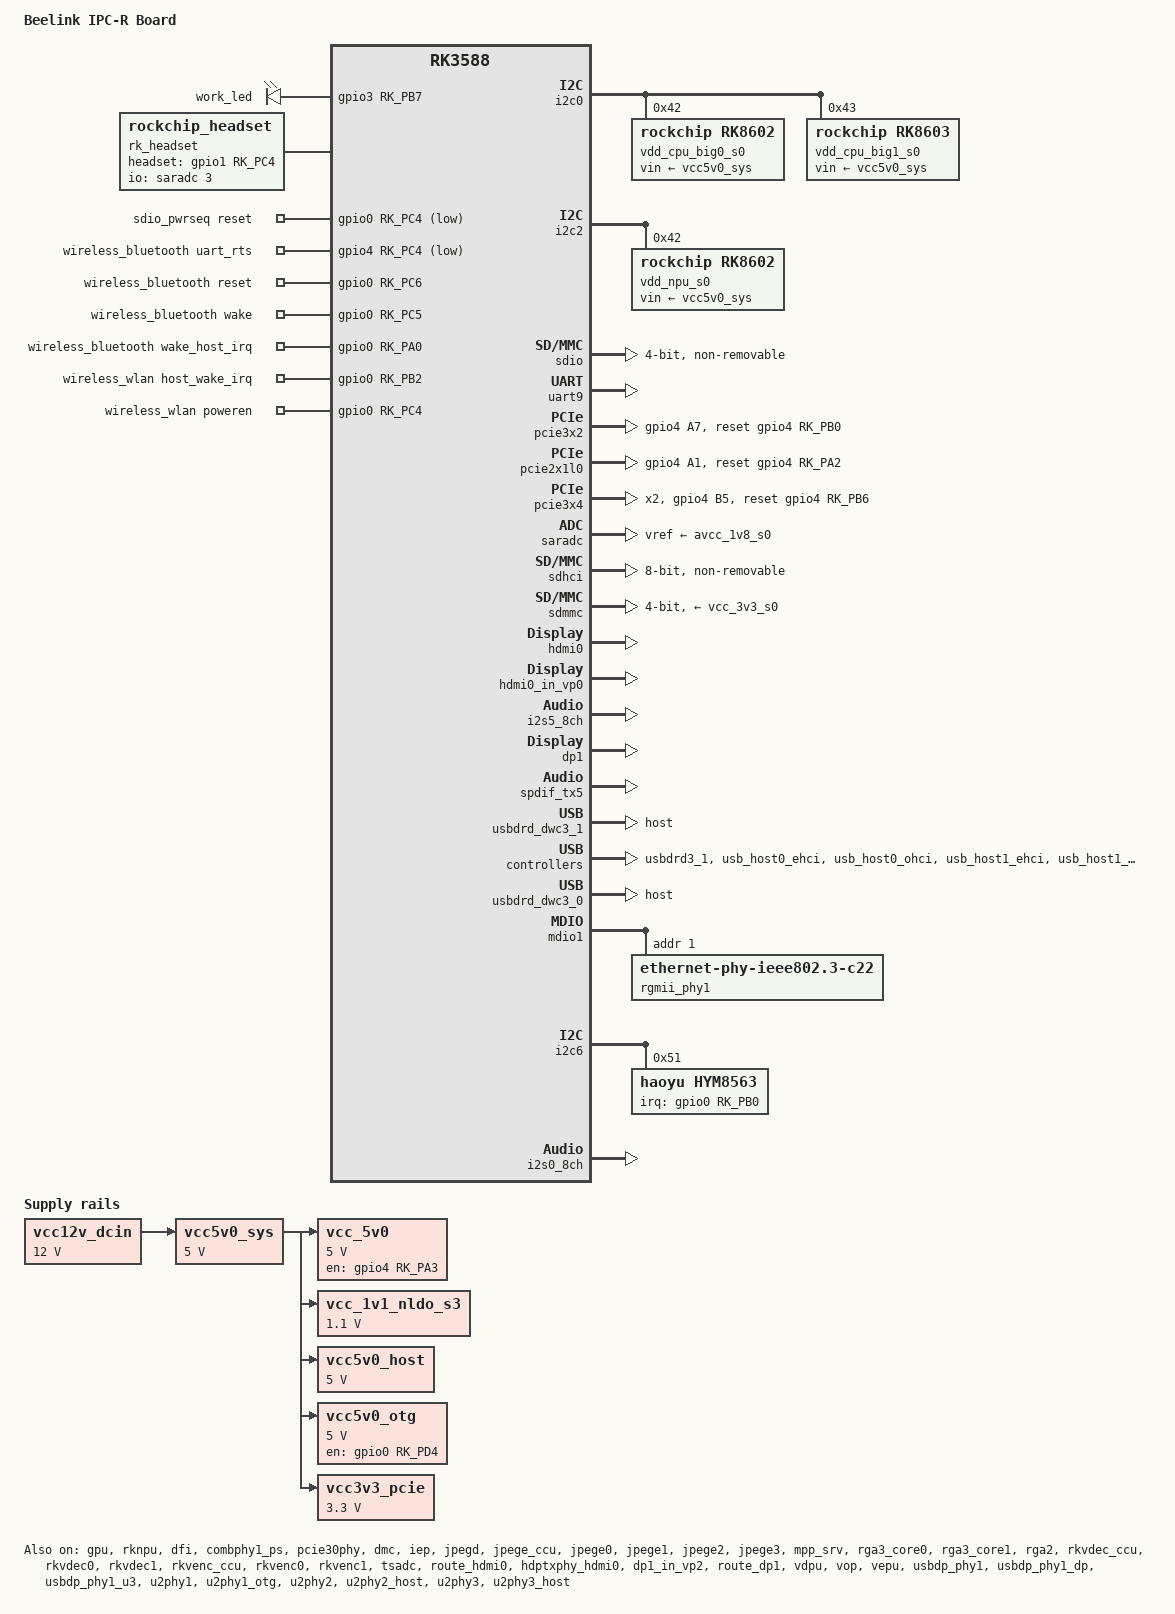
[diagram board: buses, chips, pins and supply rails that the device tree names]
// SPDX-License-Identifier: (GPL-2.0+ OR MIT)
/*
 * Copyright (c) 2023 beelink Electronics Co., Ltd.
 * Copyright (c) 2023 beelink Limited
 *
 */

/dts-v1/;

#include <dt-bindings/gpio/gpio.h>
#include <dt-bindings/leds/common.h>
#include <dt-bindings/pwm/pwm.h>
#include <dt-bindings/pinctrl/rockchip.h>
#include <dt-bindings/input/rk-input.h>
#include <dt-bindings/display/drm_mipi_dsi.h>
#include <dt-bindings/display/rockchip_vop.h>
#include <dt-bindings/sensor-dev.h>
#include "rk3588.dtsi"
#include "rk3588-rk806-single.dtsi"
#include "rk3588-vccio3-pinctrl.dtsi"
#include "rk3588-linux.dtsi"

/ {
	model = "Beelink IPC-R Board";
	compatible = "beelink,ipc-r", "rockchip,rk3588";
	/delete-node/ chosen;

	vcc12v_dcin: vcc12v-dcin {
		compatible = "regulator-fixed";
		regulator-name = "vcc12v_dcin";
		regulator-always-on;
		regulator-boot-on;
		regulator-min-microvolt = <12000000>;
		regulator-max-microvolt = <12000000>;
	};

	vcc5v0_sys: vcc5v0-sys {
		compatible = "regulator-fixed";
		regulator-name = "vcc5v0_sys";
		regulator-always-on;
		regulator-boot-on;
		regulator-min-microvolt = <5000000>;
		regulator-max-microvolt = <5000000>;
		vin-supply = <&vcc12v_dcin>;
	};

	vcc_5v0: vcc-5v0 {
		compatible = "regulator-fixed";
		regulator-name = "vcc_5v0";
		regulator-min-microvolt = <5000000>;
		regulator-max-microvolt = <5000000>;
		regulator-boot-on;
		regulator-always-on;
		enable-active-high;
		gpio = <&gpio4 RK_PA3 GPIO_ACTIVE_HIGH>;
		pinctrl-names = "default";
		pinctrl-0 = <&vcc_5v0_en>;
		vin-supply = <&vcc5v0_sys>;
	};

	vcc_1v1_nldo_s3: vcc-1v1-nldo-s3 {
		compatible = "regulator-fixed";
		regulator-name = "vcc_1v1_nldo_s3";
		regulator-always-on;
		regulator-boot-on;
		regulator-min-microvolt = <1100000>;
		regulator-max-microvolt = <1100000>;
		vin-supply = <&vcc5v0_sys>;
	};
	
	hdmi0_sound: hdmi0-sound {
		status = "okay";
		compatible = "rockchip,hdmi";
		rockchip,mclk-fs = <128>;
		rockchip,card-name = "rockchip-hdmi0";
		rockchip,cpu = <&i2s5_8ch>;
		rockchip,codec = <&hdmi0>;
		rockchip,jack-det;
	};

	dp1_sound: dp1-sound {
		status = "okay";
		compatible = "rockchip,hdmi";
		rockchip,mclk-fs = <512>;
		rockchip,card-name= "rockchip,dp1";
		rockchip,cpu = <&spdif_tx5>;
		rockchip,codec = <&dp1 1>;
		rockchip,jack-det;
	};

	es8316_sound: es8316-sound {
		status = "okay";
		compatible = "simple-audio-card";
		simple-audio-card,format = "i2s";
		simple-audio-card,mclk-fs = <256>;
		simple-audio-card,name = "rockchip-es8316";
		simple-audio-card,dai-link@0 {
			format = "i2s";
			cpu {
				sound-dai = <&i2s0_8ch>;
			};
			codec {
				sound-dai = <&es8316>;
			};
		};
	};
	leds: leds {
                 compatible = "gpio-leds";
                 work_led: work-led {
                         gpios = <&gpio3 RK_PB7 GPIO_ACTIVE_HIGH>;
                         linux,default-trigger = "default-on";
                 };
         };

	rk_headset: rk-headset {
		status = "okay";
		compatible = "rockchip_headset";
		headset_gpio = <&gpio1 RK_PC4 GPIO_ACTIVE_HIGH>;
		pinctrl-names = "default";
		pinctrl-0 = <&hp_det>;
		io-channels = <&saradc 3>;
	};

	vcc5v0_host: vcc5v0-host-regulator {
		compatible = "regulator-fixed";
		regulator-name = "vcc5v0_host";
		regulator-boot-on;
		regulator-always-on;
		regulator-min-microvolt = <5000000>;
		regulator-max-microvolt = <5000000>;
		enable-active-high;
		vin-supply = <&vcc5v0_sys>;
	};

	vcc5v0_otg: vcc5v0-otg-regulator {
		compatible = "regulator-fixed";
		regulator-name = "vcc5v0_otg";
		regulator-min-microvolt = <5000000>;
		regulator-max-microvolt = <5000000>;
		enable-active-high;
		gpio = <&gpio0 RK_PD4 GPIO_ACTIVE_HIGH>;
		pinctrl-names = "default";
		pinctrl-0 = <&vcc5v0_otg_en>;
		vin-supply = <&vcc5v0_sys>;
	};

	vcc3v3_pcie: vcc3v3-pcie {
		compatible = "regulator-fixed";
		regulator-name = "vcc3v3_pcie";
		regulator-min-microvolt = <3300000>;
		regulator-max-microvolt = <3300000>;
		startup-delay-us = <5000>;
		vin-supply = <&vcc5v0_sys>;
	};

      sdio_pwrseq: sdio-pwrseq {
               compatible = "mmc-pwrseq-simple";
                pinctrl-names = "default";
                pinctrl-0 = <&wifi_enable_h>;
                /*
                 * On the module itself this is one of these (depending
                 * on the actual card populated):
                 * - SDIO_RESET_L_WL_REG_ON
                 * - PDN (power down when low)
                 */
                post-power-on-delay-ms = <200>;
                reset-gpios = <&gpio0 RK_PC4 GPIO_ACTIVE_LOW>;
         };
      wireless_bluetooth: wireless-bluetooth {
                compatible = "bluetooth-platdata";
                uart_rts_gpios = <&gpio4 RK_PC4 GPIO_ACTIVE_LOW>;
                pinctrl-names = "default", "rts_gpio";
                pinctrl-0 = <&uart9m0_rtsn>, <&bt_reset_gpio>, <&bt_wake_gpio>, <&bt_irq_gpio>;
                pinctrl-1 = <&uart9_gpios>;
                BT,reset_gpio    = <&gpio0 RK_PC6 GPIO_ACTIVE_HIGH>;
                BT,wake_gpio     = <&gpio0 RK_PC5 GPIO_ACTIVE_HIGH>;
                BT,wake_host_irq = <&gpio0 RK_PA0 GPIO_ACTIVE_HIGH>;
                status = "okay";
         };

       wireless_wlan: wireless-wlan {
               compatible = "wlan-platdata";
               wifi_chip_type = "ap6275s";
               pinctrl-names = "default";
               pinctrl-0 = <&wifi_host_wake_irq>;
               WIFI,host_wake_irq = <&gpio0 RK_PB2 GPIO_ACTIVE_HIGH>;
               WIFI,poweren_gpio = <&gpio0 RK_PC4 GPIO_ACTIVE_HIGH>;

               status = "okay";
         };

};

&i2c0 {
	status = "okay";
	pinctrl-names = "default";
	pinctrl-0 = <&i2c0m2_xfer>;

	vdd_cpu_big0_s0: vdd_cpu_big0_mem_s0: rk8602@42 {
		compatible = "rockchip,rk8602";
		reg = <0x42>;
		vin-supply = <&vcc5v0_sys>;
		regulator-compatible = "rk860x-reg";
		regulator-name = "vdd_cpu_big0_s0";
		regulator-min-microvolt = <550000>;
		regulator-max-microvolt = <1050000>;
		regulator-ramp-delay = <2300>;
		rockchip,suspend-voltage-selector = <1>;
		regulator-boot-on;
		regulator-always-on;
		regulator-state-mem {
			regulator-off-in-suspend;
		};
	};

	vdd_cpu_big1_s0: vdd_cpu_big1_mem_s0: rk8603@43 {
		compatible = "rockchip,rk8603";
		reg = <0x43>;
		vin-supply = <&vcc5v0_sys>;
		regulator-compatible = "rk860x-reg";
		regulator-name = "vdd_cpu_big1_s0";
		regulator-min-microvolt = <550000>;
		regulator-max-microvolt = <1050000>;
		regulator-ramp-delay = <2300>;
		rockchip,suspend-voltage-selector = <1>;
		regulator-boot-on;
		regulator-always-on;
		regulator-state-mem {
			regulator-off-in-suspend;
		};
	};
};

&i2c2 {
	status = "okay";
	pinctrl-names = "default";
	pinctrl-0 = <&i2c2m0_xfer>;

	vdd_npu_s0: vdd_npu_mem_s0: rk8602@42 {
		compatible = "rockchip,rk8602";
		reg = <0x42>;
		vin-supply = <&vcc5v0_sys>;
		regulator-compatible = "rk860x-reg";
		regulator-name = "vdd_npu_s0";
		regulator-min-microvolt = <550000>;
		regulator-max-microvolt = <950000>;
		regulator-ramp-delay = <2300>;
		rockchip,suspend-voltage-selector = <1>;
		regulator-boot-on;
		regulator-always-on;
		regulator-state-mem {
			regulator-off-in-suspend;
		};
	};
};

/* CPU */

&cpu_l0 {
	cpu-supply = <&vdd_cpu_lit_s0>;
	mem-supply = <&vdd_cpu_lit_mem_s0>;
};

&cpu_b0 {
	cpu-supply = <&vdd_cpu_big0_s0>;
	mem-supply = <&vdd_cpu_big0_mem_s0>;
};

&cpu_b2 {
	cpu-supply = <&vdd_cpu_big1_s0>;
	mem-supply = <&vdd_cpu_big1_mem_s0>;
};

/* GPU */

&gpu {
	mali-supply = <&vdd_gpu_s0>;
	mem-supply = <&vdd_gpu_mem_s0>;
	status = "okay";
};
&sdio {
  max-frequency = <150000000>;
  no-sd;
  no-mmc;
  bus-width = <4>;
  disable-wp;
  cap-sd-highspeed;
  cap-sdio-irq;
  keep-power-in-suspend;
  mmc-pwrseq = <&sdio_pwrseq>;
  non-removable;
  pinctrl-names = "default";
  pinctrl-0 = <&sdiom0_pins>;
  sd-uhs-sdr104;
  status = "okay";
};
&uart9 {
  status = "okay";
  pinctrl-names = "default";
  pinctrl-0 = <&uart9m0_xfer &uart9m0_ctsn>;
};

/* NPU */

&rknpu {
	rknpu-supply = <&vdd_npu_s0>;
	mem-supply = <&vdd_npu_mem_s0>;
	status = "okay";
};

&dfi {
	status = "okay";
};
&combphy1_ps {
         status = "okay";
};

&pcie30phy {
    rockchip,pcie30-phymode = <PHY_MODE_PCIE_NANBNB>;
    status = "okay";
};
&pcie3x2 {
     reset-gpios = <&gpio4 RK_PB0 GPIO_ACTIVE_HIGH>;
     pinctrl-names = "default";
     pinctrl-0 = <&rtl8111_isolate2>;
     status = "okay";

};
&pcie2x1l0 {
         reset-gpios = <&gpio4 RK_PA2 GPIO_ACTIVE_HIGH>;
         pinctrl-names = "default";
         pinctrl-0 = <&rtl8111_isolate>;
         status = "okay";

};
&pcie3x4 {
         num-lanes = <2>;
         reset-gpios = <&gpio4 RK_PB6 GPIO_ACTIVE_HIGH>;
         pinctrl-names = "default";
         pinctrl-0 = <&rtl8111_isolate1>;
         status = "okay";
};

&dmc {
	status = "okay";
	center-supply = <&vdd_ddr_s0>;
	mem-supply = <&vdd_log_s0>;
};

&dmc_opp_table {
	/delete-node/ opp-528000000;
	/delete-node/ opp-1068000000;

	opp-528000000 {
		opp-hz = /bits/ 64 <528000000>;
		opp-microvolt = <725000 725000 875000>,
				<725000 725000 750000>;
		opp-microvolt-L1 = <725000 725000 875000>,
				   <700000 700000 750000>;
		opp-microvolt-L2 = <725000 725000 875000>,
				   <687500 687500 750000>;
		opp-microvolt-L3 = <725000 725000 875000>,
				   <675000 675000 750000>;
	};

	opp-1068000000 {
		opp-hz = /bits/ 64 <1068000000>;
		opp-microvolt = <775000 775000 875000>,
				<737500 737500 750000>;
		opp-microvolt-L1 = <750000 750000 875000>,
				   <712500 712500 750000>;
		opp-microvolt-L2 = <725000 725000 875000>,
				   <700000 700000 750000>;
		opp-microvolt-L3 = <725000 725000 875000>,
				   <687500 687500 750000>;
	};
};

&rknpu_mmu {
	status = "okay";
};

&iep {
	status = "okay";
};

&iep_mmu {
	status = "okay";
};

&jpegd {
	status = "okay";
};

&jpegd_mmu {
	status = "okay";
};

&jpege_ccu {
	status = "okay";
};

&jpege0 {
	status = "okay";
};

&jpege0_mmu {
	status = "okay";
};

&jpege1 {
	status = "okay";
};

&jpege1_mmu {
	status = "okay";
};

&jpege2 {
	status = "okay";
};

&jpege2_mmu {
	status = "okay";
};

&jpege3 {
	status = "okay";
};

&jpege3_mmu {
	status = "okay";
};

&mpp_srv {
	status = "okay";
};

&rga3_core0 {
	status = "okay";
};

&rga3_0_mmu {
	status = "okay";
};

&rga3_core1 {
	status = "okay";
};

&rga3_1_mmu {
	status = "okay";
};

&rga2 {
	status = "okay";
};

&rkvdec_ccu {
	status = "okay";
};

&rkvdec0 {
	status = "okay";
};

&rkvdec0_mmu {
	status = "okay";
};

&rkvdec1 {
	status = "okay";
};

&rkvdec1_mmu {
	status = "okay";
};

&rkvenc_ccu {
	status = "okay";
};

&rkvenc0 {
	status = "okay";
};

&rkvenc0_mmu {
	status = "okay";
};

&rkvenc1 {
	status = "okay";
};

&rkvenc1_mmu {
	status = "okay";
};

&saradc {
	status = "okay";
	vref-supply = <&avcc_1v8_s0>;
};

/* Storage */
/* eMMC */

&sdhci {
	bus-width = <8>;
	no-sdio;
	no-sd;
	non-removable;
	max-frequency = <200000000>;
	mmc-hs200-1_8v;
	/delete-property/ mmc-hs400-enhanced-strobe;
	pinctrl-names = "default";
	pinctrl-0 = <&emmc_rstnout &emmc_bus8 &emmc_clk &emmc_cmd &emmc_data_strobe>;
	status = "okay";
};

/* SD */

&sdmmc {
	max-frequency = <200000000>;
	no-sdio;
	no-mmc;
	bus-width = <4>;
	cap-mmc-highspeed;
	cap-sd-highspeed;
	disable-wp;
	sd-uhs-sdr104;
	vmmc-supply = <&vcc_3v3_s0>;
	vqmmc-supply = <&vccio_sd_s0>;
	pinctrl-names = "default";
	pinctrl-0 = <&sdmmc_bus4 &sdmmc_clk &sdmmc_cmd &sdmmc_det>;
	status = "okay";
};

/* ADC */

&tsadc {
	status = "okay";
};

/* HDMI */

&hdmi0 {
	enable-gpios = <&gpio4 RK_PB1 GPIO_ACTIVE_HIGH>;
	status = "okay";

};

&hdmi0_in_vp0 {
	status = "okay";
};

&route_hdmi0 {
	status = "okay";
	connect = <&vp0_out_hdmi0>;
};

&hdptxphy_hdmi0 {
	status = "okay";
};

&i2s5_8ch {
	status = "okay";
};

/* DP */

&dp1 {
	status = "okay";
	 pinctrl-0 = <&dp1m0_pins>;
	pinctrl-names = "default";
};

&dp1_in_vp2 {
	status = "okay";
};

&route_dp1 {
	status = "okay";
	connect = <&vp2_out_dp1>;
};

&spdif_tx5 {
	status = "okay";
};

&vdpu {
	status = "okay";
};

&vdpu_mmu {
	status = "okay";
};

/* Video Ports */

&vop {
	status = "okay";
};

&vop_mmu {
	status = "okay";
};

&vepu {
	status = "okay";
};

/* vp0 & vp1 splice for 8K output */
&vp0 {
	rockchip,plane-mask = <(1 << ROCKCHIP_VOP2_CLUSTER0 | 1 << ROCKCHIP_VOP2_ESMART0)>;
	rockchip,primary-plane = <ROCKCHIP_VOP2_ESMART0>;
	cursor-win-id = <ROCKCHIP_VOP2_CLUSTER0>;
};

&vp1 {
	rockchip,plane-mask = <(1 << ROCKCHIP_VOP2_CLUSTER1 | 1 << ROCKCHIP_VOP2_ESMART1)>;
	rockchip,primary-plane = <ROCKCHIP_VOP2_ESMART1>;
	cursor-win-id = <ROCKCHIP_VOP2_CLUSTER1>;
};

&vp2 {
	rockchip,plane-mask = <(1 << ROCKCHIP_VOP2_CLUSTER2 | 1 << ROCKCHIP_VOP2_ESMART2)>;
	rockchip,primary-plane = <ROCKCHIP_VOP2_ESMART2>;
	cursor-win-id = <ROCKCHIP_VOP2_CLUSTER2>;
};

&vp3 {
	rockchip,plane-mask = <(1 << ROCKCHIP_VOP2_CLUSTER3 | 1 << ROCKCHIP_VOP2_ESMART3)>;
	rockchip,primary-plane = <ROCKCHIP_VOP2_ESMART3>;
	cursor-win-id = <ROCKCHIP_VOP2_CLUSTER3>;
};

&display_subsystem {
	clocks = <&hdptxphy_hdmi_clk0>;
	clock-names = "hdmi0_phy_pll";
};

&hdptxphy_hdmi_clk0 {
	status = "okay";
};

/* USB */
&usbdp_phy1 {
         rockchip,dp-lane-mux = <0 1 2 3>;
         status = "okay";
};
&usbdp_phy1_dp {
         status = "okay";
};

&usbdp_phy1_u3 {
    maximum-speed = "high-speed";
   status = "okay";
};
&usbdrd_dwc3_1 {
      dr_mode = "host";
      maximum-speed = "high-speed";
      status = "okay";
};
&u2phy1 {
       status = "okay";
};
&u2phy1_otg {
         status = "okay";
};

&usbdrd3_1 {
         status = "okay";
};

&usb_host0_ehci {
	status = "okay";
};

&usb_host0_ohci {
	status = "okay";
};

&u2phy2 {
	status = "okay";
};

&u2phy2_host {
	status = "okay";
};

&usb_host1_ehci {
	status = "okay";
};

&usb_host1_ohci {
	status = "okay";
};

&u2phy3 {
	status = "okay";
};

&u2phy3_host {
	status = "okay";
};

&usbhost3_0 {
	status = "okay";
};

&usbhost_dwc3_0 {
	status = "okay";
};

&combphy2_psu {
	status = "okay";
};

&u2phy0 {
	status = "okay";
};

&u2phy0_otg {
	status = "okay";
	vbus-supply = <&vcc5v0_otg>;
};

&usbdrd3_0 {
	status = "okay";
};

&usbdrd_dwc3_0 {
	dr_mode = "host";
	status = "okay";
};

&usbdp_phy0_u3 {
	status = "okay";
};

&usbdp_phy0 {
	status = "okay";
	rockchip,dp-lane-mux = < 2 3 >;
};

&usbdp_phy0_dp {
	status = "okay";
};

/* PCIe */

&combphy0_ps {
	status = "okay";
};

&pcie2x1l2 {
	status = "disabled";
	reset-gpios = <&gpio3 RK_PD1 GPIO_ACTIVE_HIGH>;
	vpcie3v3-supply = <&vcc3v3_pcie>;
};

/* Ethernet */

&mdio1 {
	rgmii_phy1: phy@1 {
		compatible = "ethernet-phy-ieee802.3-c22";
		reg = <0x1>;
	};
};

&gmac1 {
	status = "disabled";
	phy-mode = "rgmii";
	clock_in_out = "output";

	snps,reset-gpio = <&gpio4 RK_PA2 GPIO_ACTIVE_LOW>;
	snps,reset-active-low;
	// Reset time is 20ms, 100ms for rtl8211f
	snps,reset-delays-us = <0 20000 100000>;

	pinctrl-names = "default";
	pinctrl-0 = <&gmac1_miim
		     &gmac1_tx_bus2
		     &gmac1_rx_bus2
		     &gmac1_rgmii_clk
		     &gmac1_rgmii_bus>;

	tx_delay = <0x3a>;
	rx_delay = <0x3e>;

	phy-handle = <&rgmii_phy1>;
};

/* I2C */

&i2c7 {
	status = "disabled";

	es8316: es8316@11 {
		compatible = "everest,es8316";
		reg = <0x11>;
		clocks = <&cru I2S0_8CH_MCLKOUT>;
		clock-names = "mclk";
		pinctrl-names = "default";
		pinctrl-0 = <&i2s0_mclk>;
		#sound-dai-cells = <0>;
	};
};
&i2c6 {
         status = "okay";
         hym8563: hym8563@51 {
         compatible = "haoyu,hym8563";
         reg = <0x51>;

         pinctrl-names = "default";
         pinctrl-0 = <&hym8563_int>;

         interrupt-parent = <&gpio0>;
         interrupts = <RK_PB0 IRQ_TYPE_LEVEL_LOW>;
         wakeup-source;
         };
};
&i2s0_8ch {
	status = "okay";
	rockchip,playback-channels = <2>;
	rockchip,capture-channels = <2>;
	#sound-dai-cells = <0>;
	pinctrl-names = "default";
	pinctrl-0 = <&i2s0_lrck
			 &i2s0_sclk
			 &i2s0_sdi0
			 &i2s0_sdo0>;
};

&pinctrl {

	power {
		vcc_5v0_en: vcc-5v0-en {
			rockchip,pins = <4 RK_PA3 RK_FUNC_GPIO &pcfg_pull_none>;
		};
	};

	usb {

		vcc5v0_otg_en: vcc5v0-otg-en {
			rockchip,pins = <0 RK_PD4 RK_FUNC_GPIO &pcfg_pull_none>;
		};
	};

     wireless-bluetooth {
               uart9_gpios: uart9-gpios {
                       rockchip,pins = <4 RK_PC4 RK_FUNC_GPIO &pcfg_pull_none>;
                };
               bt_reset_gpio: bt-reset-gpio {
                         rockchip,pins = <0 RK_PC6 RK_FUNC_GPIO &pcfg_pull_none>;
                };
                bt_wake_gpio: bt-wake-gpio {
                         rockchip,pins = <0 RK_PC5 RK_FUNC_GPIO &pcfg_pull_none>;
                };
                 bt_irq_gpio: bt-irq-gpio {
                         rockchip,pins = <0 RK_PA0 RK_FUNC_GPIO &pcfg_pull_none>;
                };
        };
       wireless-wlan {
                wifi_host_wake_irq: wifi-host-wake-irq {
                         rockchip,pins = <0 RK_PB2 RK_FUNC_GPIO &pcfg_pull_down>;
                 };
         };

	hym8563 {
                hym8563_int: hym8563-int {
                        rockchip,pins = <0 RK_PB0 RK_FUNC_GPIO &pcfg_pull_up>;
                };
	};
	sdio-pwrseq {
	            wifi_enable_h: wifi-enable-h {
	                rockchip,pins = <0 RK_PC4 RK_FUNC_GPIO &pcfg_pull_up>;
	                 };
	};

	rtl8111 {
	   rtl8111_isolate: rtl8111-isolate {
                        rockchip,pins = <4 RK_PA1 RK_FUNC_GPIO &pcfg_pull_up>;
                  };
        rtl8111_isolate1: rtl8111-isolate1 {
                        rockchip,pins = <4 RK_PB5 RK_FUNC_GPIO &pcfg_pull_up>;
                  };
	 rtl8111_isolate2: rtl8111-isolate2 {
                        rockchip,pins = <4 RK_PA7 RK_FUNC_GPIO &pcfg_pull_up>;
                  };
	};
	headphone {
		hp_det: hp-det {
			rockchip,pins = <1 RK_PC4 RK_FUNC_GPIO &pcfg_pull_up>;
		};
	};

	dp {
		dp0_hpd: dp0-hpd {
			rockchip,pins = <0 RK_PC4 RK_FUNC_GPIO &pcfg_pull_none>;
		};
	};
};
